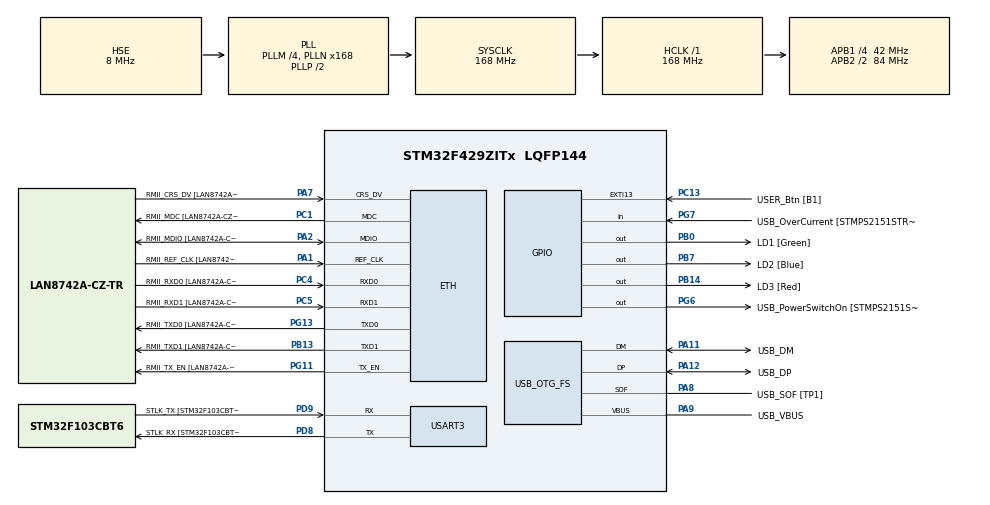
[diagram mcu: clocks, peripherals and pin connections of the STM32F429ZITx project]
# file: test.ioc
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ETH.MediaInterface=HAL_ETH_RMII_MODE
ETH.PHY_Name=LAN8742A_PHY_ADDRESS
ETH.PHY_Value=0
ETH.PhyAddress=0
Mcu.Family=STM32F4
Mcu.Name=STM32F429ZITx
Mcu.Package=LQFP144
NVIC.PriorityGroup=NVIC_PRIORITYGROUP_4
PA1.GPIO_Label=RMII_REF_CLK [LAN8742A-CZ-TR_REFCLK0]
PA1.Mode=RMII
PA1.Signal=ETH_REF_CLK
PA10.GPIO_Label=USB_ID
PA10.Signal=USB_OTG_FS_ID
PA11.GPIO_Label=USB_DM
PA11.Mode=Device_Only
PA11.Signal=USB_OTG_FS_DM
PA12.GPIO_Label=USB_DP
PA12.Mode=Device_Only
PA12.Signal=USB_OTG_FS_DP
PA13.GPIO_Label=TMS
PA13.Mode=Serial_Wire
PA13.Signal=SYS_JTMS-SWDIO
PA14.GPIO_Label=TCK
PA14.Mode=Serial_Wire
PA14.Signal=SYS_JTCK-SWCLK
PA2.GPIO_Label=RMII_MDIO [LAN8742A-CZ-TR_MDIO]
PA2.Mode=RMII
PA2.Signal=ETH_MDIO
PA7.GPIO_Label=RMII_CRS_DV [LAN8742A-CZ-TR_CRS_DV]
PA7.Mode=RMII
PA7.Signal=ETH_CRS_DV
PA8.GPIO_Label=USB_SOF [TP1]
PA8.Mode=Activate_SOF_FS
PA8.Signal=USB_OTG_FS_SOF
PA9.GPIO_Label=USB_VBUS
PA9.Mode=Activate_VBUS
PA9.Signal=USB_OTG_FS_VBUS
PB0.GPIO_Label=LD1 [Green]
PB0.Signal=GPIO_Output
PB13.GPIO_Label=RMII_TXD1 [LAN8742A-CZ-TR_TXD1]
PB13.Mode=RMII
PB13.Signal=ETH_TXD1
PB14.GPIO_Label=LD3 [Red]
PB14.Signal=GPIO_Output
PB7.GPIO_Label=LD2 [Blue]
PB7.Signal=GPIO_Output
PC1.GPIO_Label=RMII_MDC [LAN8742A-CZ-TR_MDC]
PC1.Mode=RMII
PC1.Signal=ETH_MDC
PC13.GPIO_Label=USER_Btn [B1]
PC13.Signal=GPXTI13
PC14/OSC32_IN.Mode=LSE-External-Oscillator
PC14/OSC32_IN.Signal=RCC_OSC32_IN
PC15/OSC32_OUT.Mode=LSE-External-Oscillator
PC15/OSC32_OUT.Signal=RCC_OSC32_OUT
PC4.GPIO_Label=RMII_RXD0 [LAN8742A-CZ-TR_RXD0]
PC4.Mode=RMII
PC4.Signal=ETH_RXD0
PC5.GPIO_Label=RMII_RXD1 [LAN8742A-CZ-TR_RXD1]
PC5.Mode=RMII
PC5.Signal=ETH_RXD1
PD8.GPIO_Label=STLK_RX [STM32F103CBT6_PA3]
PD8.Mode=Asynchronous
PD8.Signal=USART3_TX
PD9.GPIO_Label=STLK_TX [STM32F103CBT6_PA2]
PD9.Mode=Asynchronous
PD9.Signal=USART3_RX
PG11.GPIO_Label=RMII_TX_EN [LAN8742A-CZ-TR_TXEN]
PG11.Mode=RMII
PG11.Signal=ETH_TX_EN
PG13.GPIO_Label=RMII_TXD0 [LAN8742A-CZ-TR_TXD0]
PG13.Mode=RMII
PG13.Signal=ETH_TXD0
PG6.GPIO_Label=USB_PowerSwitchOn [STMPS2151STR_EN]
PG6.Signal=GPIO_Output
PG7.GPIO_Label=USB_OverCurrent [STMPS2151STR_FAULT]
PG7.Signal=GPIO_Input
PH0/OSC_IN.GPIO_Label=MCO [STM32F103CBT6_PA8]
PH0/OSC_IN.Mode=HSE-External-Clock-Source
PH0/OSC_IN.Signal=RCC_OSC_IN
PH1/OSC_OUT.Mode=HSE-External-Clock-Source
PH1/OSC_OUT.Signal=RCC_OSC_OUT
ProjectManager.HeapSize=0x200
ProjectManager.StackSize=0x400
ProjectManager.TargetToolchain=STM32CubeIDE
RCC.48MHZClocksFreq_Value=48000000
RCC.AHBFreq_Value=168000000
RCC.APB1CLKDivider=RCC_HCLK_DIV4
RCC.APB1Freq_Value=42000000
RCC.APB1TimFreq_Value=84000000
RCC.APB2CLKDivider=RCC_HCLK_DIV2
RCC.APB2Freq_Value=84000000
RCC.APB2TimCLKDivider=2
RCC.APB2TimFreq_Value=168000000
RCC.CortexFreq_Value=168000000
RCC.HCLKFreq_Value=168000000
RCC.HSE_VALUE=8000000
RCC.HSI_VALUE=16000000
RCC.PLLM=4
RCC.PLLMUL=RCC_PLL_MUL9
RCC.PLLN=168
RCC.PLLQ=7
RCC.PRESCALERUSB=RCC_USBCLKSOURCE_PLL_DIV1_5
RCC.SYSCLKFreq_VALUE=168000000
RCC.SYSCLKSource=RCC_SYSCLKSOURCE_PLLCLK
RCC.SYSCLKSourceVirtual=RCC_SYSCLKSOURCE_PLLCLK
RCC.USBFreq_Value=48000000
RCC.VCOOutputFreq_Value=336000000
USART3.VirtualMode=VM_ASYNC
USB_OTG_FS.VirtualMode=Device_Only
board=NUCLEO-F429ZI

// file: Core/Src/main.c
/* USER CODE BEGIN Header */
/**
  ******************************************************************************
  * @file           : main.c
  * @brief          : Main program body
  ******************************************************************************
  * @attention
  *
  * Copyright (c) 2026 STMicroelectronics.
  * All rights reserved.
  *
  * This software is licensed under terms that can be found in the LICENSE file
  * in the root directory of this software component.
  * If no LICENSE file comes with this software, it is provided AS-IS.
  *
  ******************************************************************************
  */
/* USER CODE END Header */
#include "main.h"
#include "string.h"
#include "uart_debug.h"
#include "i2c1_bus.h"
#include "bno055.h"
#include "speed_sensor.h"
#include "position.h"
#include "can.h"
#include "led.h"
#include "exti_button.h"
#include "adxl345.h"
#include "i2c2.h"
#include <math.h>

ETH_TxPacketConfig TxConfig;
ETH_DMADescTypeDef  DMARxDscrTab[ETH_RX_DESC_CNT]; /* Ethernet Rx DMA Descriptors */
ETH_DMADescTypeDef  DMATxDscrTab[ETH_TX_DESC_CNT]; /* Ethernet Tx DMA Descriptors */

ETH_HandleTypeDef heth;

UART_HandleTypeDef huart3;

PCD_HandleTypeDef hpcd_USB_OTG_FS;

/* USER CODE BEGIN PV */
volatile State_t state = IDLE;
static uint32_t last_imu_time = 0;
static uint32_t last_can_time = 0;
static uint32_t last_print_time = 0;
static uint32_t last_adxl_time = 0;
static uint32_t blink_tick = 0;

#define IMU_UPDATE_PERIOD_MS      20U
#define ADXL_UPDATE_PERIOD_MS     20U
#define CAN_TX_PERIOD_MS          50U
#define DEBUG_PRINT_PERIOD_MS    200U

static int32_t used_heading_x100 = 0;

static uint8_t blink_on = 0;
static uint8_t adxl_available = 0;
/* 마지막으로 CAN 송신에 성공한 값 */
static uint8_t previous_speed_mpm = 0U;
static uint16_t previous_x = 0U;
static uint16_t previous_y = 0U;
static uint16_t previous_heading = 0U;
static uint8_t previous_turn_signal = CAN_TURN_OFF;

/* 최초 프레임은 모든 필드를 갱신 */
static uint8_t can_first_tx = 1U;
/* USER CODE END PV */

void SystemClock_Config(void);
static void MX_GPIO_Init(void);
static void MX_ETH_Init(void);
static void MX_USART3_UART_Init(void);
static void MX_USB_OTG_FS_PCD_Init(void);

int main(void)
{

  /* MCU Configuration--------------------------------------------------------*/

  /* Reset of all peripherals, Initializes the Flash interface and the Systick. */
  HAL_Init();

  /* Configure the system clock */
  SystemClock_Config();

  /* Initialize all configured peripherals */
  MX_GPIO_Init();        // 기본 GPIO, PE2 클럭 포함
  GPIO_Init();           // PB8/PB9 I2C1 설정
  // MX_ETH_Init();      // IMU/속도센서 테스트 중에는 비활성 권장
  MX_USART3_UART_Init();
  // MX_USB_OTG_FS_PCD_Init();
  I2C1_Init();
  I2C2_Init();
  SpeedSensor_Init();
  LED_Init();
  EXTI_Button_Init();
  if (!CAN1_Init_500kbps())
  {
      _uart_printf("CAN Init Failed\n");
  }
  else
  {
      _uart_printf("CAN Init OK\n");
  }
  /* USER CODE BEGIN 2 */
  if (!BNO055_Init())
  {
      _uart_printf("BNO055 Init Failed\n");
      HAL_Delay(1000);
  }
  else
  {
      _uart_printf("BNO055 Init OK\n");

      HAL_Delay(1000);
      BNO055_ReadHeading();
      Position_Reset();

      _uart_printf("Start heading: %ld deg\n",
                   (long)(IMU_GetHeadingX100() / 100));
  }

  _uart_printf("ADXL345 Initialization...\r\n");
  if (ADXL345_Init())
  {
      adxl_available = 1U;
      _uart_printf("ADXL345 Ready!\r\n");
  }
  else
  {
      adxl_available = 0U;
      _uart_printf("ADXL345 disabled. Continue without accel.\r\n");
  }
  /* USER CODE END 2 */

  /* Infinite loop */
  /* USER CODE BEGIN WHILE */
  while (1)
  {
      uint32_t now = HAL_GetTick();

      /*
       * 1. IMU Heading 20ms마다 읽기
       * 2. BNO055 heading 값을 로컬 heading으로 사용
       * 3. 현재 속도와 heading으로 x,y 누적
       */
      if ((uint32_t)(now - last_imu_time) >= IMU_UPDATE_PERIOD_MS)
      {
          last_imu_time = now;

          if (BNO055_ReadHeading() && IMU_IsValid())
          {
              int32_t heading_x100 = IMU_GetHeadingX100();
              used_heading_x100 = ApplyHeadingDeadband_X100(heading_x100);

              float current_speed_mps = Speed_GetMps();

              Position_Update(current_speed_mps, used_heading_x100);
          }
      }
      /*
          * 2. ADXL345 Roll/Pitch Update + Turn State Logic
          */
         if (adxl_available &&
             ((uint32_t)(now - last_adxl_time) >= ADXL_UPDATE_PERIOD_MS))
         {
             last_adxl_time = now;

             int16_t ax, ay, az;
             float roll, pitch;

             if (!ADXL345_ReadXYZ(&ax, &ay, &az))
             {
                 adxl_available = 0U;
                 state = IDLE;
                 GPIOA->BSRR = GPIO_BSRR_BR5 | GPIO_BSRR_BR6;
                 _uart_printf("ADXL345 read failed. Accel disabled.\r\n");
             }
             else
             {
                 RollPitch_Calc(ax, ay, az, &roll, &pitch);

                 switch (state)
                 {
                     case IDLE:
                         GPIOA->BSRR = GPIO_BSRR_BR5 | GPIO_BSRR_BR6;
                         blink_on = 0;
                         break;

                     case WAIT_STEER_RIGHT:
                         if (roll >= 40.0f)
                         {
                             state = WAIT_RETURN_RIGHT;
                         }
                         break;

                     case WAIT_RETURN_RIGHT:
                         if (fabsf(roll) <= 5.0f)
                         {
                             state = IDLE;
                         }
                         break;

                     case WAIT_STEER_LEFT:
                         if (roll <= -40.0f)
                         {
                             state = WAIT_RETURN_LEFT;
                         }
                         break;

                     case WAIT_RETURN_LEFT:
                         if (fabsf(roll) <= 5.0f)
                         {
                             state = IDLE;
                         }
                         break;

                     default:
                         state = IDLE;
                         break;
                 }
             }
         }

         /*
          * 3. LED Blink Control
          */
         if (state != IDLE)
         {
             if ((uint32_t)(now - blink_tick) >= 500U)
             {
                 blink_tick = now;
                 blink_on = !blink_on;
             }

             if (state == WAIT_STEER_RIGHT || state == WAIT_RETURN_RIGHT)
             {
                 GPIOA->BSRR = blink_on ? GPIO_BSRR_BS5 : GPIO_BSRR_BR5;
                 GPIOA->BSRR = GPIO_BSRR_BR6;
             }
             else if (state == WAIT_STEER_LEFT || state == WAIT_RETURN_LEFT)
             {
                 GPIOA->BSRR = blink_on ? GPIO_BSRR_BS6 : GPIO_BSRR_BR6;
                 GPIOA->BSRR = GPIO_BSRR_BR5;
             }
         }
         else
         {
             GPIOA->BSRR = GPIO_BSRR_BR5 | GPIO_BSRR_BR6;
         }

         if ((uint32_t)(now - last_can_time) >= CAN_TX_PERIOD_MS)
         {
             float speed_mps;
             uint8_t speed_mpm;
             uint16_t x;
             uint16_t y;
             uint16_t heading;
             uint8_t turn_signal;
             uint16_t timestamp;
             uint8_t update_mask;
             uint8_t tx_success;

             last_can_time = now;

             speed_mps = Speed_GetMps();
             speed_mpm = CAN_SpeedMpsToMpm8(speed_mps);

             /*
              * 현재 Position_GetXcm(), Position_GetYcm()는 cm 단위입니다.
              * 프로토콜 범위에 맞게 제한합니다.
              */
             x = CAN_ClampU16(Position_GetXcm(), 0U, 1023U);
             y = CAN_ClampU16(Position_GetYcm(), 0U, 2047U);

             heading = CAN_HeadingX100(used_heading_x100);

             if ((state == WAIT_STEER_RIGHT) ||
                 (state == WAIT_RETURN_RIGHT))
             {
                 turn_signal = CAN_TURN_RIGHT;
             }
             else if ((state == WAIT_STEER_LEFT) ||
                      (state == WAIT_RETURN_LEFT))
             {
                 turn_signal = CAN_TURN_LEFT;
             }
             else
             {
                 turn_signal = CAN_TURN_OFF;
             }

             /*
              * 최초 송신은 Linux에 기준 상태가 없으므로 전체 갱신합니다.
              */
             if (can_first_tx)
             {
                 update_mask = CAN_UPDATE_ALL;
             }
             else
             {
                 update_mask = 0U;

                 if (speed_mpm != previous_speed_mpm)
                 {
                     update_mask |= CAN_UPDATE_SPEED;
                 }

                 if (x != previous_x)
                 {
                     update_mask |= CAN_UPDATE_X;
                 }

                 if (y != previous_y)
                 {
                     update_mask |= CAN_UPDATE_Y;
                 }

                 if (heading != previous_heading)
                 {
                     update_mask |= CAN_UPDATE_HEADING;
                 }

                 if (turn_signal != previous_turn_signal)
                 {
                     update_mask |= CAN_UPDATE_TURN_SIGNAL;
                 }
             }

             timestamp = CAN_GetTimestamp12();

             /*
              * update_mask가 0이어도 송신합니다.
              * Linux는 상태를 덮어쓰지 않지만 프레임 수신 시각을 통해
              * 통신 freshness를 유지할 수 있습니다.
              */
             tx_success = CAN_SendEgoStatus0000(timestamp,
                                               update_mask,
                                               speed_mpm,
                                               x,
                                               y,
                                               heading,
                                               turn_signal);

             /*
              * 실제 CAN 메일박스 등록에 성공했을 때만 이전 값을 갱신합니다.
              * 송신 실패 시 다음 주기에 동일 변경사항을 다시 전송합니다.
              */
             if (tx_success)
             {
                 previous_speed_mpm = speed_mpm;
                 previous_x = x;
                 previous_y = y;
                 previous_heading = heading;
                 previous_turn_signal = turn_signal;
                 can_first_tx = 0U;
             }
         }

      /*
       * UART 출력은 느리므로 200ms마다만 출력합니다.
       */
      if ((uint32_t)(now - last_print_time) >= DEBUG_PRINT_PERIOD_MS)
      {
          last_print_time = now;

          int32_t heading_x100 = IMU_GetHeadingX100();
          float current_speed_mps = Speed_GetMps();

          _uart_printf("raw:%ld deg used:%ld deg speed:%ld m/min x:%ld cm y:%ld cm total:%ld cm\n",
                       (long)(heading_x100 / 100),
                       (long)(used_heading_x100 / 100),
                       (long)(current_speed_mps * 60.0f),
                       (long)Position_GetXcm(),
                       (long)Position_GetYcm(),
					   (long)Position_GetTotalDistanceCm());
      }
    /* USER CODE END WHILE */

  }
}

void SystemClock_Config(void)
{
  RCC_OscInitTypeDef RCC_OscInitStruct = {0};
  RCC_ClkInitTypeDef RCC_ClkInitStruct = {0};

  /** Configure the main internal regulator output voltage
  */
  __HAL_RCC_PWR_CLK_ENABLE();
  __HAL_PWR_VOLTAGESCALING_CONFIG(PWR_REGULATOR_VOLTAGE_SCALE1);

  /** Initializes the RCC Oscillators according to the specified parameters
  * in the RCC_OscInitTypeDef structure.
  */
  RCC_OscInitStruct.OscillatorType = RCC_OSCILLATORTYPE_HSE;
  RCC_OscInitStruct.HSEState = RCC_HSE_BYPASS;
  RCC_OscInitStruct.PLL.PLLState = RCC_PLL_ON;
  RCC_OscInitStruct.PLL.PLLSource = RCC_PLLSOURCE_HSE;
  RCC_OscInitStruct.PLL.PLLM = 4;
  RCC_OscInitStruct.PLL.PLLN = 168;
  RCC_OscInitStruct.PLL.PLLP = RCC_PLLP_DIV2;
  RCC_OscInitStruct.PLL.PLLQ = 7;
  if (HAL_RCC_OscConfig(&RCC_OscInitStruct) != HAL_OK)
  {
    Error_Handler();
  }

  /** Initializes the CPU, AHB and APB buses clocks
  */
  RCC_ClkInitStruct.ClockType = RCC_CLOCKTYPE_HCLK|RCC_CLOCKTYPE_SYSCLK
                              |RCC_CLOCKTYPE_PCLK1|RCC_CLOCKTYPE_PCLK2;
  RCC_ClkInitStruct.SYSCLKSource = RCC_SYSCLKSOURCE_PLLCLK;
  RCC_ClkInitStruct.AHBCLKDivider = RCC_SYSCLK_DIV1;
  RCC_ClkInitStruct.APB1CLKDivider = RCC_HCLK_DIV4;
  RCC_ClkInitStruct.APB2CLKDivider = RCC_HCLK_DIV2;

  if (HAL_RCC_ClockConfig(&RCC_ClkInitStruct, FLASH_LATENCY_5) != HAL_OK)
  {
    Error_Handler();
  }
}

static void MX_ETH_Init(void)
{

   static uint8_t MACAddr[6];

  heth.Instance = ETH;
  MACAddr[0] = 0x00;
  MACAddr[1] = 0x80;
  MACAddr[2] = 0xE1;
  MACAddr[3] = 0x00;
  MACAddr[4] = 0x00;
  MACAddr[5] = 0x00;
  heth.Init.MACAddr = &MACAddr[0];
  heth.Init.MediaInterface = HAL_ETH_RMII_MODE;
  heth.Init.TxDesc = DMATxDscrTab;
  heth.Init.RxDesc = DMARxDscrTab;
  heth.Init.RxBuffLen = 1524;

  if (HAL_ETH_Init(&heth) != HAL_OK)
  {
    Error_Handler();
  }

  memset(&TxConfig, 0 , sizeof(ETH_TxPacketConfig));
  TxConfig.Attributes = ETH_TX_PACKETS_FEATURES_CSUM | ETH_TX_PACKETS_FEATURES_CRCPAD;
  TxConfig.ChecksumCtrl = ETH_CHECKSUM_IPHDR_PAYLOAD_INSERT_PHDR_CALC;
  TxConfig.CRCPadCtrl = ETH_CRC_PAD_INSERT;

}

static void MX_USART3_UART_Init(void)
{

  huart3.Instance = USART3;
  huart3.Init.BaudRate = 115200;
  huart3.Init.WordLength = UART_WORDLENGTH_8B;
  huart3.Init.StopBits = UART_STOPBITS_1;
  huart3.Init.Parity = UART_PARITY_NONE;
  huart3.Init.Mode = UART_MODE_TX_RX;
  huart3.Init.HwFlowCtl = UART_HWCONTROL_NONE;
  huart3.Init.OverSampling = UART_OVERSAMPLING_16;
  if (HAL_UART_Init(&huart3) != HAL_OK)
  {
    Error_Handler();
  }

}

static void MX_USB_OTG_FS_PCD_Init(void)
{

  hpcd_USB_OTG_FS.Instance = USB_OTG_FS;
  hpcd_USB_OTG_FS.Init.dev_endpoints = 4;
  hpcd_USB_OTG_FS.Init.speed = PCD_SPEED_FULL;
  hpcd_USB_OTG_FS.Init.dma_enable = DISABLE;
  hpcd_USB_OTG_FS.Init.phy_itface = PCD_PHY_EMBEDDED;
  hpcd_USB_OTG_FS.Init.Sof_enable = ENABLE;
  hpcd_USB_OTG_FS.Init.low_power_enable = DISABLE;
  hpcd_USB_OTG_FS.Init.lpm_enable = DISABLE;
  hpcd_USB_OTG_FS.Init.vbus_sensing_enable = ENABLE;
  hpcd_USB_OTG_FS.Init.use_dedicated_ep1 = DISABLE;
  if (HAL_PCD_Init(&hpcd_USB_OTG_FS) != HAL_OK)
  {
    Error_Handler();
  }

}

static void MX_GPIO_Init(void)
{
  GPIO_InitTypeDef GPIO_InitStruct = {0};

  /* GPIO Ports Clock Enable */
  __HAL_RCC_GPIOC_CLK_ENABLE();
  __HAL_RCC_GPIOH_CLK_ENABLE();
  __HAL_RCC_GPIOA_CLK_ENABLE();
  __HAL_RCC_GPIOB_CLK_ENABLE();
  __HAL_RCC_GPIOD_CLK_ENABLE();
  __HAL_RCC_GPIOG_CLK_ENABLE();

  /*Configure GPIO pin Output Level */
  HAL_GPIO_WritePin(GPIOB, LD1_Pin|LD3_Pin|LD2_Pin, GPIO_PIN_RESET);

  /*Configure GPIO pin Output Level */
  HAL_GPIO_WritePin(USB_PowerSwitchOn_GPIO_Port, USB_PowerSwitchOn_Pin, GPIO_PIN_RESET);

  /*Configure GPIO pin : USER_Btn_Pin */
  GPIO_InitStruct.Pin = USER_Btn_Pin;
  GPIO_InitStruct.Mode = GPIO_MODE_IT_RISING;
  GPIO_InitStruct.Pull = GPIO_NOPULL;
  HAL_GPIO_Init(USER_Btn_GPIO_Port, &GPIO_InitStruct);

  /*Configure GPIO pins : LD1_Pin LD3_Pin LD2_Pin */
  GPIO_InitStruct.Pin = LD1_Pin|LD3_Pin|LD2_Pin;
  GPIO_InitStruct.Mode = GPIO_MODE_OUTPUT_PP;
  GPIO_InitStruct.Pull = GPIO_NOPULL;
  GPIO_InitStruct.Speed = GPIO_SPEED_FREQ_LOW;
  HAL_GPIO_Init(GPIOB, &GPIO_InitStruct);

  /*Configure GPIO pin : USB_PowerSwitchOn_Pin */
  GPIO_InitStruct.Pin = USB_PowerSwitchOn_Pin;
  GPIO_InitStruct.Mode = GPIO_MODE_OUTPUT_PP;
  GPIO_InitStruct.Pull = GPIO_NOPULL;
  GPIO_InitStruct.Speed = GPIO_SPEED_FREQ_LOW;
  HAL_GPIO_Init(USB_PowerSwitchOn_GPIO_Port, &GPIO_InitStruct);

  /*Configure GPIO pin : USB_OverCurrent_Pin */
  GPIO_InitStruct.Pin = USB_OverCurrent_Pin;
  GPIO_InitStruct.Mode = GPIO_MODE_INPUT;
  GPIO_InitStruct.Pull = GPIO_NOPULL;
  HAL_GPIO_Init(USB_OverCurrent_GPIO_Port, &GPIO_InitStruct);

}

/* USER CODE BEGIN 4 */

//void EXTI2_IRQHandler(void)
//{
//    if (EXTI->PR & (1U << 2))
//    {
//        EXTI->PR |= (1U << 2);
//
//        if ((uint32_t)(msTick - last_edge_tick) >= MARK_LOCKOUT_MS)
//        {
//            pulse_count++;
//            last_edge_tick = msTick;
//
//            if (GPIOE->IDR & (1U << 2))
//                GPIOB->ODR |= (1U << 7);
//            else
//                GPIOB->ODR &= ~(1U << 7);
//        }
//        else
//        {
//            rejected_cnt++;
//        }
//    }
//}
/* USER CODE END 4 */

void Error_Handler(void)
{
  __disable_irq();
  while (1)
  {
  }
}
